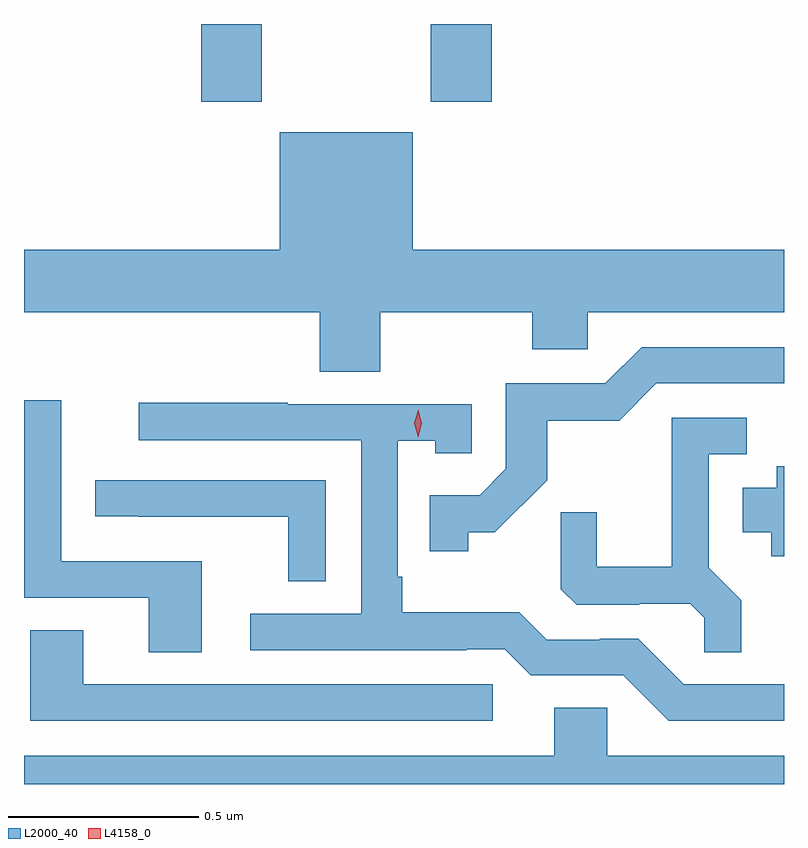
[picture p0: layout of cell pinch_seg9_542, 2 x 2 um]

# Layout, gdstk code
import gdstk
lib = gdstk.Library(unit=1e-6, precision=1e-09)
def R(c, l, rs):  # rectangles x0, y0, x1, y1
    for r in rs: c.add(gdstk.rectangle(r[:2], r[2:], *l))
def P(c, l, *ps):  # polygons
    for p in ps: c.add(gdstk.Polygon(p, *l))
L2000_40 = (2000, 40)
L4158_0 = (4158, 0)

pinch_seg9_542 = lib.new_cell('pinch_seg9_542')
R(pinch_seg9_542, L2000_40, [(345.641,1198.305,345.801,1198.51), (346.246,1198.305,346.406,1198.51)])
P(pinch_seg9_542, L2000_40, [(346.113,1197.752),(346.513,1197.752),(346.513,1197.654),(346.659,1197.654),(346.659,1197.752),(347.175,1197.752),(347.175,1197.916),(346.198,1197.916),(346.198,1198.225),(345.848,1198.225),(345.848,1197.916),(345.175,1197.916),(345.175,1197.752),(345.953,1197.752),(345.953,1197.595),(346.113,1197.595)],
  [(346.344,1197.173),(346.414,1197.173),(346.552,1197.31),(346.552,1197.466),(346.741,1197.466),(346.839,1197.564),(347.175,1197.564),(347.175,1197.66),(346.8,1197.66),(346.704,1197.564),(346.443,1197.564),(346.443,1197.339),(346.374,1197.27),(346.243,1197.27),(346.243,1197.123),(346.344,1197.123)],
  [(345.643,1197.096),(345.273,1197.096),(345.273,1197.52),(345.175,1197.52),(345.175,1197.4),(345.176,1197.4),(345.176,1197.109),(345.175,1197.109),(345.175,1197),(345.503,1197),(345.503,1196.857),(345.643,1196.857)],
  [(347.175,1196.772),(346.911,1196.772),(346.791,1196.892),(346.69,1196.892),(346.69,1196.889),(346.551,1196.889),(346.478,1196.962),(346.171,1196.962),(346.171,1197.055),(346.158,1197.055),(346.158,1197.413),(346.257,1197.413),(346.257,1197.381),(346.353,1197.381),(346.353,1197.51),(345.869,1197.51),(345.869,1197.513),(345.477,1197.513),(345.477,1197.414),(346.062,1197.414),(346.062,1196.958),(345.771,1196.958),(345.771,1196.862),(346.34,1196.862),(346.34,1196.865),(346.44,1196.865),(346.509,1196.796),(346.752,1196.796),(346.872,1196.676),(347.175,1196.676)],
  [(347.063,1196.993),(346.977,1197.079),(346.977,1197.378),(347.077,1197.378),(347.077,1197.474),(346.88,1197.474),(346.88,1197.082),(346.682,1197.082),(346.682,1197.225),(346.588,1197.225),(346.588,1197.023),(346.629,1196.982),(346.794,1196.982),(346.794,1196.985),(346.928,1196.985),(346.965,1196.948),(346.965,1196.857),(347.063,1196.857)],
  [(347.175,1197.346),(347.156,1197.346),(347.156,1197.289),(347.066,1197.289),(347.066,1197.173),(347.141,1197.173),(347.141,1197.11),(347.175,1197.11)],
  [(345.969,1197.309),(345.363,1197.309),(345.363,1197.214),(345.475,1197.214),(345.475,1197.213),(345.871,1197.213),(345.871,1197.043),(345.969,1197.043)],
  [(346.408,1196.772),(345.331,1196.772),(345.331,1196.915),(345.191,1196.915),(345.191,1196.676),(346.408,1196.676)],
  [(347.175,1196.584),(346.71,1196.584),(346.71,1196.711),(346.571,1196.711),(346.571,1196.584),(345.175,1196.584),(345.175,1196.51),(347.175,1196.51)])
P(pinch_seg9_542, L4158_0, [(346.212,1197.423),(346.212,1197.423),(346.202,1197.459),(346.212,1197.494),(346.212,1197.495),(346.212,1197.494),(346.222,1197.459),(346.212,1197.423)])

lib.write_gds('pinch_seg9_542.gds')
